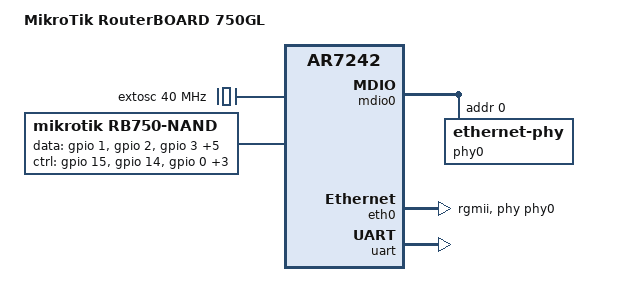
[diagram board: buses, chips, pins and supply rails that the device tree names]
// SPDX-License-Identifier: GPL-2.0-or-later OR MIT

#include "ar7242.dtsi"

#include <dt-bindings/gpio/gpio.h>
#include <dt-bindings/input/input.h>

/ {
	compatible = "mikrotik,routerboard-750gl", "qca,ar7242";
	model = "MikroTik RouterBOARD 750GL";

	extosc: ref {
		compatible = "fixed-clock";
		#clock-cells = <0>;
		clock-frequency = <40000000>;
	};

/*	leds {
		compatible = "gpio-leds";

		act {
			label = "green:act";
			gpios = <&gpio 11 GPIO_ACTIVE_LOW>;
		};
	};*/

	nand {
		compatible = "mikrotik,rb750-nand";
		pinctrl-names = "default";
		pinctrl-0 = <&jtag_disable_pins>,
			    <&switch_led_disable_pins>;

		data-gpios = <&gpio 1 GPIO_ACTIVE_HIGH>,	// I/O 0
			<&gpio 2 GPIO_ACTIVE_HIGH>,		// I/O 1
			<&gpio 3 GPIO_ACTIVE_HIGH>,		// I/O 2
			<&gpio 4 GPIO_ACTIVE_HIGH>,		// I/O 3
			<&gpio 5 GPIO_ACTIVE_HIGH>,		// I/O 4
			<&gpio 6 GPIO_ACTIVE_HIGH>,		// I/O 5
			<&gpio 7 GPIO_ACTIVE_HIGH>,		// I/O 6
			<&gpio 8 GPIO_ACTIVE_HIGH>;		// I/O 7

		ctrl-gpios = <&gpio 15 GPIO_ACTIVE_HIGH>,	// ALE
			<&gpio 14 GPIO_ACTIVE_HIGH>,		// CLE
			<&gpio 0 GPIO_ACTIVE_HIGH>,		// nCE
			<&gpio 16 GPIO_ACTIVE_HIGH>,		// NRE
			<&gpio 17 GPIO_ACTIVE_HIGH>,		// NWE
			<&gpio 12 GPIO_ACTIVE_HIGH>;		// RDY

		partitions {
			compatible = "fixed-partitions";
			#address-cells = <1>;
			#size-cells = <1>;

			partition@0 {
				label = "booter";
				reg = <0x000000 0x0040000>;
				read-only;
			};

			partition@40000 {
				label = "kernel";
				reg = <0x040000 0x03c0000>;
			};

			partition@400000 {
				label = "ubi";
				reg = <0x400000 0x7c00000>;
			};
		};
	};
};

&mdio0 {
	status = "okay";

	phy-mask = <0x1>;

	phy0: ethernet-phy@0 {
		reg = <0>;

		qca,ar8327-initvalds = <
			0x04 0x07600000 /* PORT0 PAD MODE CTRL */
			0x7c 0x0000007e /* PORT0_STATUS */
		>;
	};
};

&eth0 {
	status = "okay";

	pll-data = <0x62000000 0x00000101 0x00001616>;

//	mtd-mac-address = <&art 0x120c>;

	phy-mode = "rgmii";
	phy-handle = <&phy0>;
};

&pll {
	clocks = <&extosc>;
};

&uart {
	status = "okay";
};
